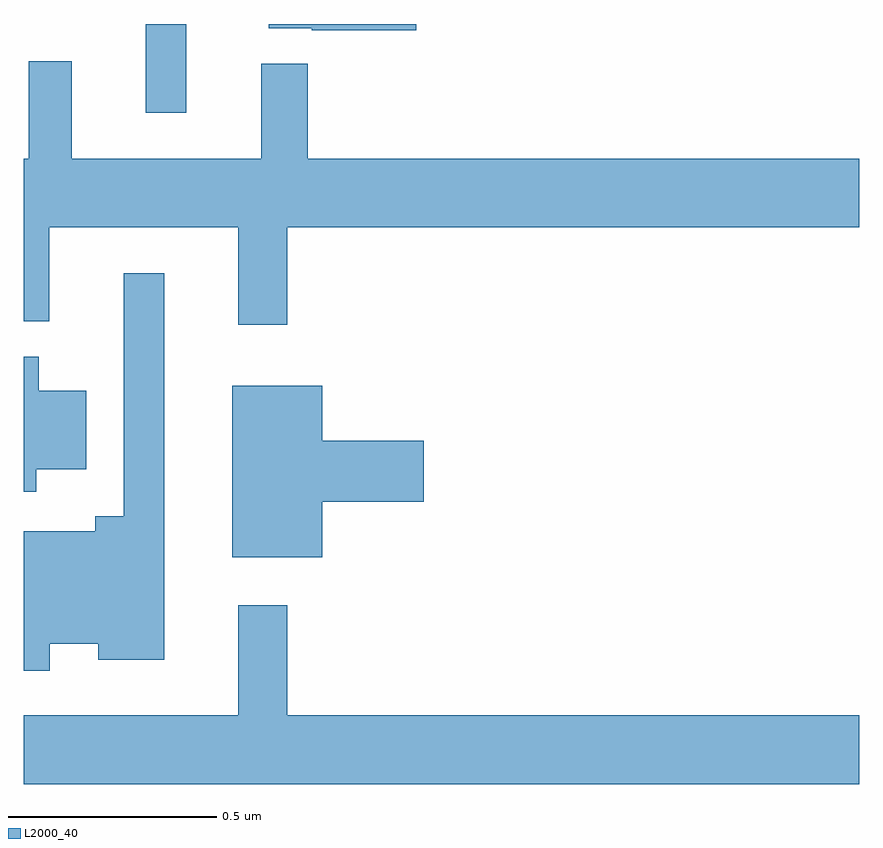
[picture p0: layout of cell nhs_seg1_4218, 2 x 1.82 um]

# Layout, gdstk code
import gdstk
lib = gdstk.Library(unit=1e-6, precision=1e-09)
def R(c, l, rs):  # rectangles x0, y0, x1, y1
    for r in rs: c.add(gdstk.rectangle(r[:2], r[2:], *l))
def P(c, l, *ps):  # polygons
    for p in ps: c.add(gdstk.Polygon(p, *l))
L2000_40 = (2000, 40)

nhs_seg1_4218 = lib.new_cell('nhs_seg1_4218')
R(nhs_seg1_4218, L2000_40, [(163.292,571.986,163.389,572.199)])
P(nhs_seg1_4218, L2000_40, [(163.939,572.199),(163.586,572.199),(163.586,572.189),(163.69,572.189),(163.69,572.184),(163.939,572.184)],
  [(163.631,571.712),(165,571.712),(165,571.876),(163.68,571.876),(163.68,572.104),(163.568,572.104),(163.568,571.876),(163.115,571.876),(163.115,572.11),(163.012,572.11),(163.012,571.876),(163,571.876),(163,571.487),(163.061,571.487),(163.061,571.712),(163.514,571.712),(163.514,571.479),(163.631,571.479)],
  [(163.062,570.716),(163.178,570.716),(163.178,570.677),(163.336,570.677),(163.336,571.603),(163.239,571.603),(163.239,571.021),(163.171,571.021),(163.171,570.985),(163,570.985),(163,570.651),(163.062,570.651)],
  [(163.03,571.133),(163.15,571.133),(163.15,571.321),(163.036,571.321),(163.036,571.402),(163,571.402),(163,571.079),(163.03,571.079)],
  [(163.714,571.055),(163.957,571.055),(163.957,571.202),(163.714,571.202),(163.714,571.333),(163.499,571.333),(163.499,570.923),(163.714,570.923)],
  [(165,570.544),(163.631,570.544),(163.631,570.808),(163.514,570.808),(163.514,570.544),(163,570.544),(163,570.38),(165,570.38)])

lib.write_gds('nhs_seg1_4218.gds')
